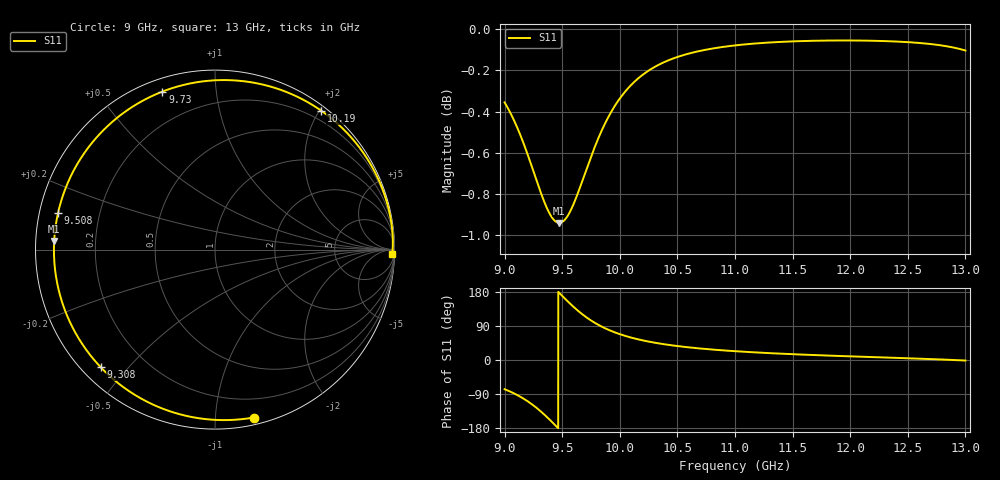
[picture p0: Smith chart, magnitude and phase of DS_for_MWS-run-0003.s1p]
! TOUCHSTONE file generated by CST DESIGN STUDIO
! Date and time: Tue Feb  4 17:14:51 2025
! Project name: C:\Work\MatlabApps\UnitCellOptimizationMatlab\CST\unitcell.cst
! Tree item: Tasks\Sweep1\SPara1\S-Parameters
! Header version: 2024
! Port assignment regex: !\s*Touchstone port\s*([0-9]+)\s*=\s*(CST MWS port|CST DES external port|CST DES block port)\s*(.+)\s* \(\"(.*)\"\)(\s*mode\s*([0-9]+))?.*
! Touchstone port assignment:
! Touchstone port 1 = CST DES external port 1 ("")
# GHz S MA R 50
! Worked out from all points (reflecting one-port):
!   4001 points, 9 GHz to 13 GHz, reference 50 ohm
!   lowest |S11| = -0.9 dB at 9.475 GHz (marker M1), VSWR 18.48, Z = 2.71 + j1.34 ohm
!   phase of S11 starts at -77 deg and turns -284 deg over the sweep
!   S11 on the Smith chart (normalised r, x): 9 GHz: 0.05, -1.25; 9.308 GHz: 0.05, -0.42; 9.508 GHz: 0.05, +0.12; 9.73 GHz: 0.06, +0.72; 10.19 GHz: 0.07, +2.03; 13 GHz: 33, -67
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9  0.9599 -77.1
9.077  0.9509 -87.4
9.175  0.9365 -104.0
9.244  0.9247 -118.4
9.308  0.9137 -134.1
9.352  0.9069 -146.1
9.398  0.9013 -159.5
9.437  0.8983 -171.3
9.475  0.8974 176.9
9.5  0.8978 169.2
9.508  0.8981 166.7
9.56  0.9021 151.2
9.621  0.9101 134.1
9.674  0.9186 120.8
9.73  0.9279 108.4
9.783  0.9363 98.1
9.843  0.9449 88.1
9.92  0.9543 77.3
10  0.962 68.2
10.089  0.9687 59.9
10.188  0.9744 52.5
10.331  0.9801 44.2
10.5  0.9846 36.8
11  0.991 23.2
11.5  0.9933 15.3
12  0.9938 9.6
12.5  0.9929 4.6
13  0.9882 -1.4
